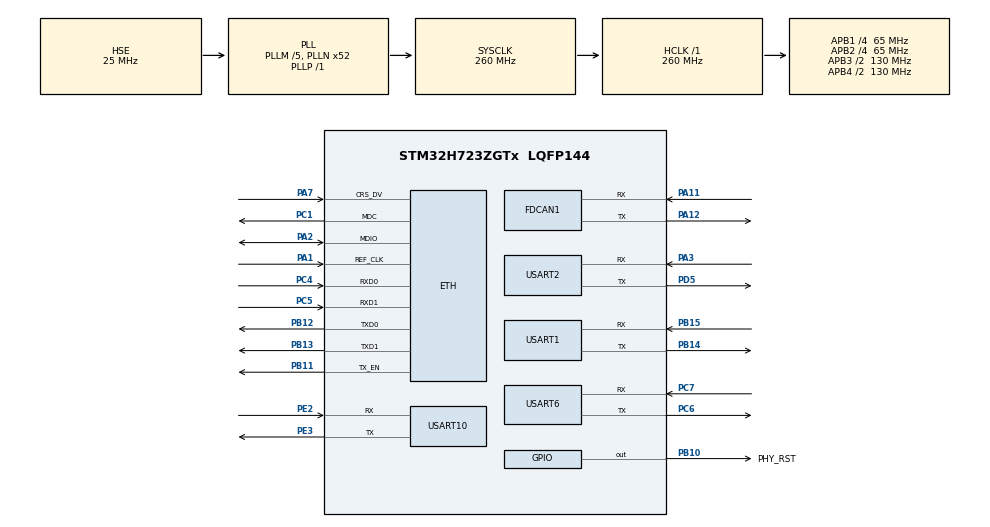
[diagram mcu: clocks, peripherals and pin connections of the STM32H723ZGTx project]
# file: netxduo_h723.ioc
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CORTEX_M7.AccessPermission-Cortex_Memory_Protection_Unit_Region0_Settings=MPU_REGION_FULL_ACCESS
CORTEX_M7.AccessPermission-Cortex_Memory_Protection_Unit_Region1_Settings=MPU_REGION_FULL_ACCESS
CORTEX_M7.BaseAddress-Cortex_Memory_Protection_Unit_Region0_Settings=0x30000000
CORTEX_M7.BaseAddress-Cortex_Memory_Protection_Unit_Region1_Settings=0x30000000
CORTEX_M7.CPU_DCache=Enabled
CORTEX_M7.CPU_ICache=Enabled
CORTEX_M7.Enable-Cortex_Memory_Protection_Unit_Region0_Settings=MPU_REGION_ENABLE
CORTEX_M7.Enable-Cortex_Memory_Protection_Unit_Region1_Settings=MPU_REGION_ENABLE
CORTEX_M7.IsBufferable-Cortex_Memory_Protection_Unit_Region1_Settings=MPU_ACCESS_BUFFERABLE
CORTEX_M7.IsCacheable-Cortex_Memory_Protection_Unit_Region0_Settings=MPU_ACCESS_CACHEABLE
CORTEX_M7.MPU_Control=MPU_PRIVILEGED_DEFAULT
CORTEX_M7.Size-Cortex_Memory_Protection_Unit_Region0_Settings=MPU_REGION_SIZE_32KB
CORTEX_M7.Size-Cortex_Memory_Protection_Unit_Region1_Settings=MPU_REGION_SIZE_256B
CORTEX_M7.default_mode_Activation=0
Dma.Request0=USART1_RX
Dma.Request1=USART1_TX
Dma.Request2=USART2_RX
Dma.Request3=USART2_TX
Dma.Request4=USART6_RX
Dma.Request5=USART6_TX
Dma.Request6=USART10_RX
Dma.Request7=USART10_TX
Dma.USART10_RX.6.Direction=DMA_PERIPH_TO_MEMORY
Dma.USART10_RX.6.EventEnable=DISABLE
Dma.USART10_RX.6.FIFOMode=DMA_FIFOMODE_DISABLE
Dma.USART10_RX.6.Instance=DMA1_Stream6
Dma.USART10_RX.6.MemDataAlignment=DMA_MDATAALIGN_BYTE
Dma.USART10_RX.6.MemInc=DMA_MINC_ENABLE
Dma.USART10_RX.6.Mode=DMA_CIRCULAR
Dma.USART10_RX.6.PeriphDataAlignment=DMA_PDATAALIGN_BYTE
Dma.USART10_RX.6.PeriphInc=DMA_PINC_DISABLE
Dma.USART10_RX.6.Polarity=HAL_DMAMUX_REQ_GEN_RISING
Dma.USART10_RX.6.Priority=DMA_PRIORITY_LOW
Dma.USART10_RX.6.RequestNumber=1
Dma.USART10_RX.6.SignalID=NONE
Dma.USART10_RX.6.SyncEnable=DISABLE
Dma.USART10_RX.6.SyncPolarity=HAL_DMAMUX_SYNC_NO_EVENT
Dma.USART10_RX.6.SyncRequestNumber=1
Dma.USART10_RX.6.SyncSignalID=NONE
Dma.USART10_TX.7.Direction=DMA_MEMORY_TO_PERIPH
Dma.USART10_TX.7.EventEnable=DISABLE
Dma.USART10_TX.7.FIFOMode=DMA_FIFOMODE_DISABLE
Dma.USART10_TX.7.Instance=DMA1_Stream7
Dma.USART10_TX.7.MemDataAlignment=DMA_MDATAALIGN_BYTE
Dma.USART10_TX.7.MemInc=DMA_MINC_ENABLE
Dma.USART10_TX.7.Mode=DMA_NORMAL
Dma.USART10_TX.7.PeriphDataAlignment=DMA_PDATAALIGN_BYTE
Dma.USART10_TX.7.PeriphInc=DMA_PINC_DISABLE
Dma.USART10_TX.7.Polarity=HAL_DMAMUX_REQ_GEN_RISING
Dma.USART10_TX.7.Priority=DMA_PRIORITY_LOW
Dma.USART10_TX.7.RequestNumber=1
Dma.USART10_TX.7.SignalID=NONE
Dma.USART10_TX.7.SyncEnable=DISABLE
Dma.USART10_TX.7.SyncPolarity=HAL_DMAMUX_SYNC_NO_EVENT
Dma.USART10_TX.7.SyncRequestNumber=1
Dma.USART10_TX.7.SyncSignalID=NONE
Dma.USART1_RX.0.Direction=DMA_PERIPH_TO_MEMORY
Dma.USART1_RX.0.EventEnable=DISABLE
Dma.USART1_RX.0.FIFOMode=DMA_FIFOMODE_DISABLE
Dma.USART1_RX.0.Instance=DMA1_Stream0
Dma.USART1_RX.0.MemDataAlignment=DMA_MDATAALIGN_BYTE
Dma.USART1_RX.0.MemInc=DMA_MINC_ENABLE
Dma.USART1_RX.0.Mode=DMA_CIRCULAR
Dma.USART1_RX.0.PeriphDataAlignment=DMA_PDATAALIGN_BYTE
Dma.USART1_RX.0.PeriphInc=DMA_PINC_DISABLE
Dma.USART1_RX.0.Polarity=HAL_DMAMUX_REQ_GEN_RISING
Dma.USART1_RX.0.Priority=DMA_PRIORITY_LOW
Dma.USART1_RX.0.RequestNumber=1
Dma.USART1_RX.0.SignalID=NONE
Dma.USART1_RX.0.SyncEnable=DISABLE
Dma.USART1_RX.0.SyncPolarity=HAL_DMAMUX_SYNC_NO_EVENT
Dma.USART1_RX.0.SyncRequestNumber=1
Dma.USART1_RX.0.SyncSignalID=NONE
Dma.USART1_TX.1.Direction=DMA_MEMORY_TO_PERIPH
Dma.USART1_TX.1.EventEnable=DISABLE
Dma.USART1_TX.1.FIFOMode=DMA_FIFOMODE_DISABLE
Dma.USART1_TX.1.Instance=DMA1_Stream1
Dma.USART1_TX.1.MemDataAlignment=DMA_MDATAALIGN_BYTE
Dma.USART1_TX.1.MemInc=DMA_MINC_ENABLE
Dma.USART1_TX.1.Mode=DMA_NORMAL
Dma.USART1_TX.1.PeriphDataAlignment=DMA_PDATAALIGN_BYTE
Dma.USART1_TX.1.PeriphInc=DMA_PINC_DISABLE
Dma.USART1_TX.1.Polarity=HAL_DMAMUX_REQ_GEN_RISING
Dma.USART1_TX.1.Priority=DMA_PRIORITY_LOW
Dma.USART1_TX.1.RequestNumber=1
Dma.USART1_TX.1.SignalID=NONE
Dma.USART1_TX.1.SyncEnable=DISABLE
Dma.USART1_TX.1.SyncPolarity=HAL_DMAMUX_SYNC_NO_EVENT
Dma.USART1_TX.1.SyncRequestNumber=1
Dma.USART1_TX.1.SyncSignalID=NONE
Dma.USART2_RX.2.Direction=DMA_PERIPH_TO_MEMORY
Dma.USART2_RX.2.EventEnable=DISABLE
Dma.USART2_RX.2.FIFOMode=DMA_FIFOMODE_DISABLE
Dma.USART2_RX.2.Instance=DMA1_Stream2
Dma.USART2_RX.2.MemDataAlignment=DMA_MDATAALIGN_BYTE
Dma.USART2_RX.2.MemInc=DMA_MINC_ENABLE
Dma.USART2_RX.2.Mode=DMA_NORMAL
Dma.USART2_RX.2.PeriphDataAlignment=DMA_PDATAALIGN_BYTE
Dma.USART2_RX.2.PeriphInc=DMA_PINC_DISABLE
Dma.USART2_RX.2.Polarity=HAL_DMAMUX_REQ_GEN_RISING
Dma.USART2_RX.2.Priority=DMA_PRIORITY_LOW
Dma.USART2_RX.2.RequestNumber=1
Dma.USART2_RX.2.SignalID=NONE
Dma.USART2_RX.2.SyncEnable=DISABLE
Dma.USART2_RX.2.SyncPolarity=HAL_DMAMUX_SYNC_NO_EVENT
Dma.USART2_RX.2.SyncRequestNumber=1
Dma.USART2_RX.2.SyncSignalID=NONE
Dma.USART2_TX.3.Direction=DMA_MEMORY_TO_PERIPH
Dma.USART2_TX.3.EventEnable=DISABLE
Dma.USART2_TX.3.FIFOMode=DMA_FIFOMODE_DISABLE
Dma.USART2_TX.3.Instance=DMA1_Stream3
Dma.USART2_TX.3.MemDataAlignment=DMA_MDATAALIGN_BYTE
Dma.USART2_TX.3.MemInc=DMA_MINC_ENABLE
Dma.USART2_TX.3.Mode=DMA_NORMAL
Dma.USART2_TX.3.PeriphDataAlignment=DMA_PDATAALIGN_BYTE
Dma.USART2_TX.3.PeriphInc=DMA_PINC_DISABLE
Dma.USART2_TX.3.Polarity=HAL_DMAMUX_REQ_GEN_RISING
Dma.USART2_TX.3.Priority=DMA_PRIORITY_LOW
Dma.USART2_TX.3.RequestNumber=1
Dma.USART2_TX.3.SignalID=NONE
Dma.USART2_TX.3.SyncEnable=DISABLE
Dma.USART2_TX.3.SyncPolarity=HAL_DMAMUX_SYNC_NO_EVENT
Dma.USART2_TX.3.SyncRequestNumber=1
Dma.USART2_TX.3.SyncSignalID=NONE
Dma.USART6_RX.4.Direction=DMA_PERIPH_TO_MEMORY
Dma.USART6_RX.4.EventEnable=DISABLE
Dma.USART6_RX.4.FIFOMode=DMA_FIFOMODE_DISABLE
Dma.USART6_RX.4.Instance=DMA1_Stream4
Dma.USART6_RX.4.MemDataAlignment=DMA_MDATAALIGN_BYTE
Dma.USART6_RX.4.MemInc=DMA_MINC_ENABLE
Dma.USART6_RX.4.Mode=DMA_CIRCULAR
Dma.USART6_RX.4.PeriphDataAlignment=DMA_PDATAALIGN_BYTE
Dma.USART6_RX.4.PeriphInc=DMA_PINC_DISABLE
Dma.USART6_RX.4.Polarity=HAL_DMAMUX_REQ_GEN_RISING
Dma.USART6_RX.4.Priority=DMA_PRIORITY_LOW
Dma.USART6_RX.4.RequestNumber=1
Dma.USART6_RX.4.SignalID=NONE
Dma.USART6_RX.4.SyncEnable=DISABLE
Dma.USART6_RX.4.SyncPolarity=HAL_DMAMUX_SYNC_NO_EVENT
Dma.USART6_RX.4.SyncRequestNumber=1
Dma.USART6_RX.4.SyncSignalID=NONE
Dma.USART6_TX.5.Direction=DMA_MEMORY_TO_PERIPH
Dma.USART6_TX.5.EventEnable=DISABLE
Dma.USART6_TX.5.FIFOMode=DMA_FIFOMODE_DISABLE
Dma.USART6_TX.5.Instance=DMA1_Stream5
Dma.USART6_TX.5.MemDataAlignment=DMA_MDATAALIGN_BYTE
Dma.USART6_TX.5.MemInc=DMA_MINC_ENABLE
Dma.USART6_TX.5.Mode=DMA_NORMAL
Dma.USART6_TX.5.PeriphDataAlignment=DMA_PDATAALIGN_BYTE
Dma.USART6_TX.5.PeriphInc=DMA_PINC_DISABLE
Dma.USART6_TX.5.Polarity=HAL_DMAMUX_REQ_GEN_RISING
Dma.USART6_TX.5.Priority=DMA_PRIORITY_LOW
Dma.USART6_TX.5.RequestNumber=1
Dma.USART6_TX.5.SignalID=NONE
Dma.USART6_TX.5.SyncEnable=DISABLE
Dma.USART6_TX.5.SyncPolarity=HAL_DMAMUX_SYNC_NO_EVENT
Dma.USART6_TX.5.SyncRequestNumber=1
Dma.USART6_TX.5.SyncSignalID=NONE
ETH.MediaInterface=HAL_ETH_RMII_MODE
ETH.RxBufferAddress=0x30000100
FDCAN1.CalculateBaudRateNominal=1000000
FDCAN1.CalculateTimeBitNominal=1000
FDCAN1.CalculateTimeQuantumNominal=100.0
FDCAN1.DataPrescaler=5
FDCAN1.DataSyncJumpWidth=12
FDCAN1.DataTimeSeg1=32
FDCAN1.DataTimeSeg2=16
FDCAN1.NominalPrescaler=13
FDCAN1.NominalSyncJumpWidth=12
FDCAN1.NominalTimeSeg1=7
FDCAN1.NominalTimeSeg2=2
FDCAN1.RxFifo0ElmtsNbr=32
FDCAN1.RxFifo1ElmtsNbr=32
FDCAN1.StdFiltersNbr=1
FDCAN1.TxFifoQueueElmtsNbr=6
Mcu.Family=STM32H7
Mcu.Name=STM32H723ZGTx
Mcu.Package=LQFP144
NVIC.DMA1_Stream0_IRQn=true\:0\:0\:false\:false\:true\:false\:true\:true
NVIC.DMA1_Stream1_IRQn=true\:0\:0\:false\:false\:true\:false\:true\:true
NVIC.DMA1_Stream2_IRQn=true\:0\:0\:false\:false\:true\:false\:true\:true
NVIC.DMA1_Stream3_IRQn=true\:0\:0\:false\:false\:true\:false\:true\:true
NVIC.DMA1_Stream4_IRQn=true\:0\:0\:false\:false\:true\:false\:true\:true
NVIC.DMA1_Stream5_IRQn=true\:0\:0\:false\:false\:true\:false\:true\:true
NVIC.DMA1_Stream6_IRQn=true\:0\:0\:false\:false\:true\:false\:true\:true
NVIC.DMA1_Stream7_IRQn=true\:0\:0\:false\:false\:true\:false\:true\:true
NVIC.ETH_IRQn=true\:0\:0\:false\:false\:true\:true\:true\:true
NVIC.FDCAN1_IT0_IRQn=true\:0\:0\:false\:false\:true\:true\:true\:true
NVIC.FDCAN1_IT1_IRQn=true\:0\:0\:false\:false\:true\:true\:true\:true
NVIC.PriorityGroup=NVIC_PRIORITYGROUP_4
NVIC.TIM6_DAC_IRQn=true\:15\:0\:false\:false\:true\:false\:true\:true
NVIC.TimeBase=TIM6_DAC_IRQn
NVIC.TimeBaseIP=TIM6
NVIC.USART10_IRQn=true\:0\:0\:false\:false\:true\:true\:true\:true
NVIC.USART1_IRQn=true\:0\:0\:false\:false\:true\:true\:true\:true
NVIC.USART2_IRQn=true\:0\:0\:false\:false\:true\:true\:true\:true
NVIC.USART6_IRQn=true\:0\:0\:false\:false\:true\:true\:true\:true
PA1.GPIO_Speed=GPIO_SPEED_FREQ_VERY_HIGH
PA1.Mode=RMII
PA1.Signal=ETH_REF_CLK
PA11.Mode=FDCAN_Activate
PA11.Signal=FDCAN1_RX
PA12.Mode=FDCAN_Activate
PA12.Signal=FDCAN1_TX
PA2.GPIO_Speed=GPIO_SPEED_FREQ_VERY_HIGH
PA2.Mode=RMII
PA2.Signal=ETH_MDIO
PA3.Mode=Asynchronous
PA3.Signal=USART2_RX
PA7.GPIO_Speed=GPIO_SPEED_FREQ_VERY_HIGH
PA7.Mode=RMII
PA7.Signal=ETH_CRS_DV
PB10.GPIO_Label=PHY_RST
PB10.GPIO_PuPd=GPIO_PULLUP
PB10.PinState=GPIO_PIN_SET
PB10.Signal=GPIO_Output
PB11.GPIO_Speed=GPIO_SPEED_FREQ_VERY_HIGH
PB11.Mode=RMII
PB11.Signal=ETH_TX_EN
PB12.GPIO_Speed=GPIO_SPEED_FREQ_VERY_HIGH
PB12.Mode=RMII
PB12.Signal=ETH_TXD0
PB13.GPIO_Speed=GPIO_SPEED_FREQ_VERY_HIGH
PB13.Mode=RMII
PB13.Signal=ETH_TXD1
PB14.Mode=Asynchronous
PB14.Signal=USART1_TX
PB15.Mode=Asynchronous
PB15.Signal=USART1_RX
PC1.GPIO_Speed=GPIO_SPEED_FREQ_VERY_HIGH
PC1.Mode=RMII
PC1.Signal=ETH_MDC
PC14-OSC32_IN.Mode=LSE-External-Oscillator
PC14-OSC32_IN.Signal=RCC_OSC32_IN
PC15-OSC32_OUT.Mode=LSE-External-Oscillator
PC15-OSC32_OUT.Signal=RCC_OSC32_OUT
PC4.GPIO_Speed=GPIO_SPEED_FREQ_VERY_HIGH
PC4.Mode=RMII
PC4.Signal=ETH_RXD0
PC5.GPIO_Speed=GPIO_SPEED_FREQ_VERY_HIGH
PC5.Mode=RMII
PC5.Signal=ETH_RXD1
PC6.Mode=Asynchronous
PC6.Signal=USART6_TX
PC7.Mode=Asynchronous
PC7.Signal=USART6_RX
PD5.Mode=Asynchronous
PD5.Signal=USART2_TX
PE2.Mode=Asynchronous
PE2.Signal=USART10_RX
PE3.Mode=Asynchronous
PE3.Signal=USART10_TX
PH0-OSC_IN.Mode=HSE-External-Oscillator
PH0-OSC_IN.Signal=RCC_OSC_IN
PH1-OSC_OUT.Mode=HSE-External-Oscillator
PH1-OSC_OUT.Signal=RCC_OSC_OUT
ProjectManager.HeapSize=0x800
ProjectManager.StackSize=0x3000
ProjectManager.TargetToolchain=CMake
RCC.ADCFreq_Value=50390625
RCC.APB1Freq_Value=65000000
RCC.APB2Freq_Value=65000000
RCC.APB3Freq_Value=130000000
RCC.APB4Freq_Value=130000000
RCC.CortexFreq_Value=260000000
RCC.D1PPRE=RCC_APB3_DIV2
RCC.D2PPRE1=RCC_APB1_DIV4
RCC.D2PPRE2=RCC_APB2_DIV4
RCC.D3PPRE=RCC_APB4_DIV2
RCC.DIVM1=5
RCC.DIVN1=52
RCC.DIVP1=1
RCC.HCLKFreq_Value=260000000
RCC.PLL2FRACN=0
RCC.PLL3FRACN=0
RCC.PLLFRACN=0
RCC.PLLSourceVirtual=RCC_PLLSOURCE_HSE
RCC.SYSCLKFreq_VALUE=260000000
RCC.SYSCLKSource=RCC_SYSCLKSOURCE_PLLCLK
RCC.USBFreq_Value=130000000
USART1.VirtualMode-Asynchronous=VM_ASYNC
USART10.VirtualMode-Asynchronous=VM_ASYNC
USART2.VirtualMode-Asynchronous=VM_ASYNC
USART6.VirtualMode-Asynchronous=VM_ASYNC
VP_MEMORYMAP_VS_MEMORYMAP.Mode=CurAppReg
VP_SYS_VS_tim6.Mode=TIM6
board=custom

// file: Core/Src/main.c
/* USER CODE BEGIN Header */
/**
  ******************************************************************************
  * @file           : main.c
  * @brief          : Main program body
  ******************************************************************************
  * @attention
  *
  * Copyright (c) 2025 STMicroelectronics.
  * All rights reserved.
  *
  * This software is licensed under terms that can be found in the LICENSE file
  * in the root directory of this software component.
  * If no LICENSE file comes with this software, it is provided AS-IS.
  *
  ******************************************************************************
  */
/* USER CODE END Header */
#include "main.h"
#include "dma.h"
#include "eth.h"
#include "fdcan.h"
#include "memorymap.h"
#include "usart.h"
#include "gpio.h"
#include <stdint.h>

/* USER CODE BEGIN Includes */
#include "emb_flash.h"
/* USER CODE END Includes */

void SystemClock_Config(void);
static void MPU_Config(void);

/* USER CODE BEGIN 0 */
void sleep_s(uint32_t s)
{
  tx_thread_sleep(s*1000);
}
void sleep_ms(uint32_t ms)
{
	tx_thread_sleep(ms);
}
void sleep_us(uint32_t us)
{
	tx_thread_sleep(us/1000u);
}

// 默认mac地址和ip地址
struct socket_param_t socket_param_data = {
  .flash_head = FLASH_HEAD,
  .mac_address = {0x02, 0x00, 0x00, 0x00, 0x00, 0x01},
  .ip_address = IP_ADDRESS(DEFAULT_IP_ADDR0, DEFAULT_IP_ADDR1, DEFAULT_IP_ADDR2, DEFAULT_IP_ADDR3),
  .mask_address = IP_ADDRESS(255, 255, 255, 0),
  .gateway_address = IP_ADDRESS(DEFAULT_IP_ADDR0, DEFAULT_IP_ADDR1, DEFAULT_IP_ADDR2, 1),
  .flash_tail = FLASH_TAIL,
};
uint8_t default_mac_address[6] = {0x02, 0x00, 0x00, 0x00, 0x00, 0x01};
uint32_t default_ip_address = IP_ADDRESS(DEFAULT_IP_ADDR0, DEFAULT_IP_ADDR1, DEFAULT_IP_ADDR2, DEFAULT_IP_ADDR3);
uint32_t default_mask_address = IP_ADDRESS(255, 255, 255, 0);
uint32_t default_gateway_address = IP_ADDRESS(DEFAULT_IP_ADDR0, DEFAULT_IP_ADDR1, DEFAULT_IP_ADDR2, 1);
const uint32_t socket_param_data_address = 0x08080000;

/* USER CODE END 0 */

int main(void)
{

  /* MPU Configuration--------------------------------------------------------*/
  MPU_Config();

  /* Enable the CPU Cache */

  /* Enable I-Cache---------------------------------------------------------*/
  SCB_EnableICache();

  /* Enable D-Cache---------------------------------------------------------*/
  SCB_EnableDCache();

  /* MCU Configuration--------------------------------------------------------*/

  /* Reset of all peripherals, Initializes the Flash interface and the Systick. */
  HAL_Init();

  /* Configure the system clock */
  SystemClock_Config();

  /* USER CODE BEGIN SysInit */
  // 读取flash中的mac地址和ip地址(如果flash中没有数据，则使用默认数据)
  struct socket_param_t socket_param_data_read;
  emb_flash_read(socket_param_data_address, (uint32_t*)&socket_param_data_read, sizeof(struct socket_param_t));
  if(socket_param_data_read.flash_head == FLASH_HEAD && socket_param_data_read.flash_tail == FLASH_TAIL)
  {
    memcpy(&socket_param_data, &socket_param_data_read, sizeof(struct socket_param_t));
  }

  /* USER CODE END SysInit */

  /* Initialize all configured peripherals */
  MX_GPIO_Init();
  MX_DMA_Init();
  MX_ETH_Init();
  MX_FDCAN1_Init();
  MX_USART1_UART_Init();
  MX_USART2_UART_Init();
  MX_USART6_UART_Init();
  MX_USART10_UART_Init();
  /* USER CODE BEGIN 2 */
  HAL_Delay(500);
  tx_kernel_enter();

  /* USER CODE END 2 */

  /* Infinite loop */
  while (1)
  {

  }
}

void SystemClock_Config(void)
{
  RCC_OscInitTypeDef RCC_OscInitStruct = {0};
  RCC_ClkInitTypeDef RCC_ClkInitStruct = {0};

  /** Supply configuration update enable
  */
  HAL_PWREx_ConfigSupply(PWR_LDO_SUPPLY);

  /** Configure the main internal regulator output voltage
  */
  __HAL_PWR_VOLTAGESCALING_CONFIG(PWR_REGULATOR_VOLTAGE_SCALE0);

  while(!__HAL_PWR_GET_FLAG(PWR_FLAG_VOSRDY)) {}

  /** Initializes the RCC Oscillators according to the specified parameters
  * in the RCC_OscInitTypeDef structure.
  */
  RCC_OscInitStruct.OscillatorType = RCC_OSCILLATORTYPE_HSE;
  RCC_OscInitStruct.HSEState = RCC_HSE_ON;
  RCC_OscInitStruct.PLL.PLLState = RCC_PLL_ON;
  RCC_OscInitStruct.PLL.PLLSource = RCC_PLLSOURCE_HSE;
  RCC_OscInitStruct.PLL.PLLM = 5;
  RCC_OscInitStruct.PLL.PLLN = 52;
  RCC_OscInitStruct.PLL.PLLP = 1;
  RCC_OscInitStruct.PLL.PLLQ = 2;
  RCC_OscInitStruct.PLL.PLLR = 2;
  RCC_OscInitStruct.PLL.PLLRGE = RCC_PLL1VCIRANGE_2;
  RCC_OscInitStruct.PLL.PLLVCOSEL = RCC_PLL1VCOWIDE;
  RCC_OscInitStruct.PLL.PLLFRACN = 0;
  if (HAL_RCC_OscConfig(&RCC_OscInitStruct) != HAL_OK)
  {
    Error_Handler();
  }

  /** Initializes the CPU, AHB and APB buses clocks
  */
  RCC_ClkInitStruct.ClockType = RCC_CLOCKTYPE_HCLK|RCC_CLOCKTYPE_SYSCLK
                              |RCC_CLOCKTYPE_PCLK1|RCC_CLOCKTYPE_PCLK2
                              |RCC_CLOCKTYPE_D3PCLK1|RCC_CLOCKTYPE_D1PCLK1;
  RCC_ClkInitStruct.SYSCLKSource = RCC_SYSCLKSOURCE_PLLCLK;
  RCC_ClkInitStruct.SYSCLKDivider = RCC_SYSCLK_DIV1;
  RCC_ClkInitStruct.AHBCLKDivider = RCC_HCLK_DIV1;
  RCC_ClkInitStruct.APB3CLKDivider = RCC_APB3_DIV2;
  RCC_ClkInitStruct.APB1CLKDivider = RCC_APB1_DIV4;
  RCC_ClkInitStruct.APB2CLKDivider = RCC_APB2_DIV4;
  RCC_ClkInitStruct.APB4CLKDivider = RCC_APB4_DIV2;

  if (HAL_RCC_ClockConfig(&RCC_ClkInitStruct, FLASH_LATENCY_3) != HAL_OK)
  {
    Error_Handler();
  }
}

 /* MPU Configuration */

void MPU_Config(void)
{
  MPU_Region_InitTypeDef MPU_InitStruct = {0};

  /* Disables the MPU */
  HAL_MPU_Disable();

  /** Initializes and configures the Region and the memory to be protected
  */
  // 0x24000000
  MPU_InitStruct.Enable = MPU_REGION_ENABLE;
  MPU_InitStruct.Number = MPU_REGION_NUMBER0;
  MPU_InitStruct.BaseAddress = 0x24000000;
  MPU_InitStruct.Size = MPU_REGION_SIZE_128KB;
  MPU_InitStruct.SubRegionDisable = 0x0;
  MPU_InitStruct.TypeExtField = MPU_TEX_LEVEL0;
  MPU_InitStruct.AccessPermission = MPU_REGION_FULL_ACCESS;
  MPU_InitStruct.DisableExec = MPU_INSTRUCTION_ACCESS_ENABLE;
  MPU_InitStruct.IsShareable = MPU_ACCESS_NOT_SHAREABLE;
  MPU_InitStruct.IsCacheable = MPU_ACCESS_NOT_CACHEABLE;
  MPU_InitStruct.IsBufferable = MPU_ACCESS_BUFFERABLE;
  HAL_MPU_ConfigRegion(&MPU_InitStruct);

  // 0x30000000
  MPU_InitStruct.Enable = MPU_REGION_ENABLE;
  MPU_InitStruct.Number = MPU_REGION_NUMBER1;
  MPU_InitStruct.BaseAddress = 0x30000000;
  MPU_InitStruct.Size = MPU_REGION_SIZE_32KB;
  MPU_InitStruct.SubRegionDisable = 0x0;
  MPU_InitStruct.TypeExtField = MPU_TEX_LEVEL0;
  MPU_InitStruct.AccessPermission = MPU_REGION_FULL_ACCESS;
  MPU_InitStruct.DisableExec = MPU_INSTRUCTION_ACCESS_ENABLE;
  MPU_InitStruct.IsShareable = MPU_ACCESS_NOT_SHAREABLE;
  MPU_InitStruct.IsCacheable = MPU_ACCESS_CACHEABLE;
  MPU_InitStruct.IsBufferable = MPU_ACCESS_NOT_BUFFERABLE;

  HAL_MPU_ConfigRegion(&MPU_InitStruct);

  /** Initializes and configures the Region and the memory to be protected
  */
  MPU_InitStruct.Number = MPU_REGION_NUMBER2;
  MPU_InitStruct.Size = MPU_REGION_SIZE_256B;
  MPU_InitStruct.IsCacheable = MPU_ACCESS_NOT_CACHEABLE;
  MPU_InitStruct.IsBufferable = MPU_ACCESS_BUFFERABLE;

  HAL_MPU_ConfigRegion(&MPU_InitStruct);
  /* Enables the MPU */
  HAL_MPU_Enable(MPU_PRIVILEGED_DEFAULT);

}

void HAL_TIM_PeriodElapsedCallback(TIM_HandleTypeDef *htim)
{
  if (htim->Instance == TIM6)
  {
    HAL_IncTick();
  }
}

void Error_Handler(void)
{
  __disable_irq();
  while (1)
  {
  }
}
